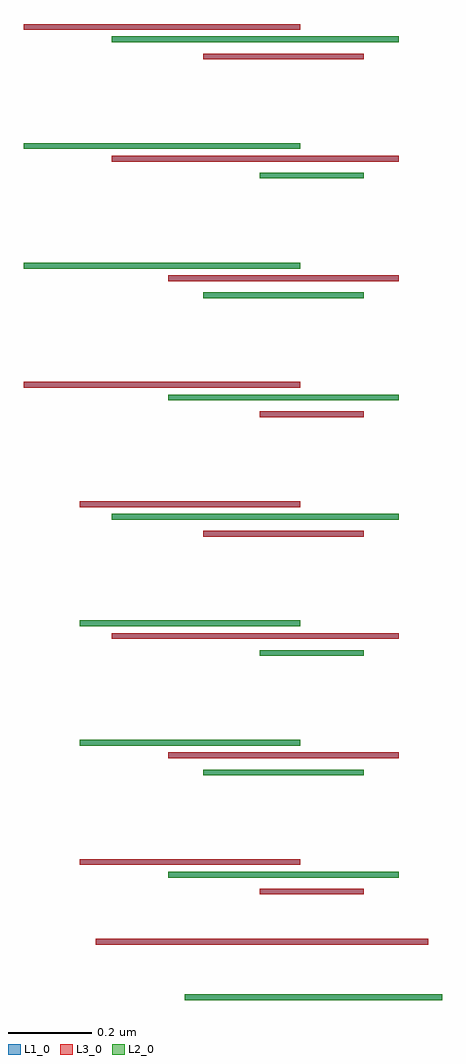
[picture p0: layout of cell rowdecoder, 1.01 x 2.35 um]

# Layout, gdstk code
import gdstk
lib = gdstk.Library(unit=1e-6, precision=5e-10)
def R(c, l, rs):  # rectangles x0, y0, x1, y1
    for r in rs: c.add(gdstk.rectangle(r[:2], r[2:], *l))
def A(c, l, x, y, w, h, nx, ny, dx, dy):  # array of equal rectangles
    R(c, l, [(x+i*dx, y+j*dy, x+i*dx+w, y+j*dy+h) for i in range(nx) for j in range(ny)])
L1_0 = (1, 0)
L2_0 = (2, 0)
L3_0 = (3, 0)

nor_5 = lib.new_cell('nor_5')
R(nor_5, L1_0, [(-0.015,0.068,0.131,0.082)])

rowdecoder = lib.new_cell('rowdecoder')
A(rowdecoder, L1_0, 0.606, 0.3085, 0.2505, 0.014, 1, 3, 0, 0.574)
A(rowdecoder, L1_0, 0.4705, 0.595, 0.386, 0.014, 1, 3, 0, 0.574)
R(rowdecoder, L1_0, [(0.426,0.0545,1.0455,0.0685), (0.2115,0.1875,1.011,0.2015), (0.3855,0.349,0.812,0.363), (0.173,0.3795,0.703,0.3935), (0.3855,0.636,0.812,0.65), (0.173,0.666,0.703,0.68), (0.25,0.923,0.812,0.937), (0.173,0.9535,0.703,0.9675), (0.25,1.21,0.812,1.224), (0.173,1.24,0.703,1.254), (0.3855,1.497,0.812,1.511), (0.0375,1.5275,0.703,1.5415), (0.3855,1.784,0.812,1.798), (0.0375,1.814,0.703,1.828), (0.606,2.031,0.8565,2.045), (0.25,2.0715,0.812,2.0855), (0.0375,2.102,0.703,2.116), (0.4705,2.3175,0.8565,2.3315), (0.25,2.3585,0.812,2.3725), (0.0375,2.3885,0.703,2.4025)])
R(rowdecoder, L2_0, [(0.426,0.0545,1.0455,0.0685), (0.3855,0.349,0.9405,0.363), (0.4705,0.595,0.8565,0.609), (0.173,0.666,0.703,0.68), (0.606,0.8825,0.8565,0.8965), (0.173,0.9535,0.703,0.9675), (0.25,1.21,0.9405,1.224), (0.3855,1.497,0.9405,1.511), (0.4705,1.743,0.8565,1.757), (0.0375,1.814,0.703,1.828), (0.606,2.031,0.8565,2.045), (0.0375,2.102,0.703,2.116), (0.25,2.3585,0.9405,2.3725)])
R(rowdecoder, L3_0, [(0.2115,0.1875,1.011,0.2015), (0.606,0.3085,0.8565,0.3225), (0.173,0.3795,0.703,0.3935), (0.3855,0.636,0.9405,0.65), (0.25,0.923,0.9405,0.937), (0.4705,1.169,0.8565,1.183), (0.173,1.24,0.703,1.254), (0.606,1.4565,0.8565,1.4705), (0.0375,1.5275,0.703,1.5415), (0.3855,1.784,0.9405,1.798), (0.25,2.0715,0.9405,2.0855), (0.4705,2.3175,0.8565,2.3315), (0.0375,2.3885,0.703,2.4025)])
rowdecoder.add(gdstk.Reference(nor_5, (0.8095,2.2905)))
rowdecoder.add(gdstk.Reference(nor_5, (0.8095,2.0035)))
rowdecoder.add(gdstk.Reference(nor_5, (0.8095,1.716)))
rowdecoder.add(gdstk.Reference(nor_5, (0.8095,1.429)))
rowdecoder.add(gdstk.Reference(nor_5, (0.8095,1.142)))
rowdecoder.add(gdstk.Reference(nor_5, (0.8095,0.855)))
rowdecoder.add(gdstk.Reference(nor_5, (0.8095,0.568)))
rowdecoder.add(gdstk.Reference(nor_5, (0.8095,0.281)))

lib.write_gds('rowdecoder.gds')
